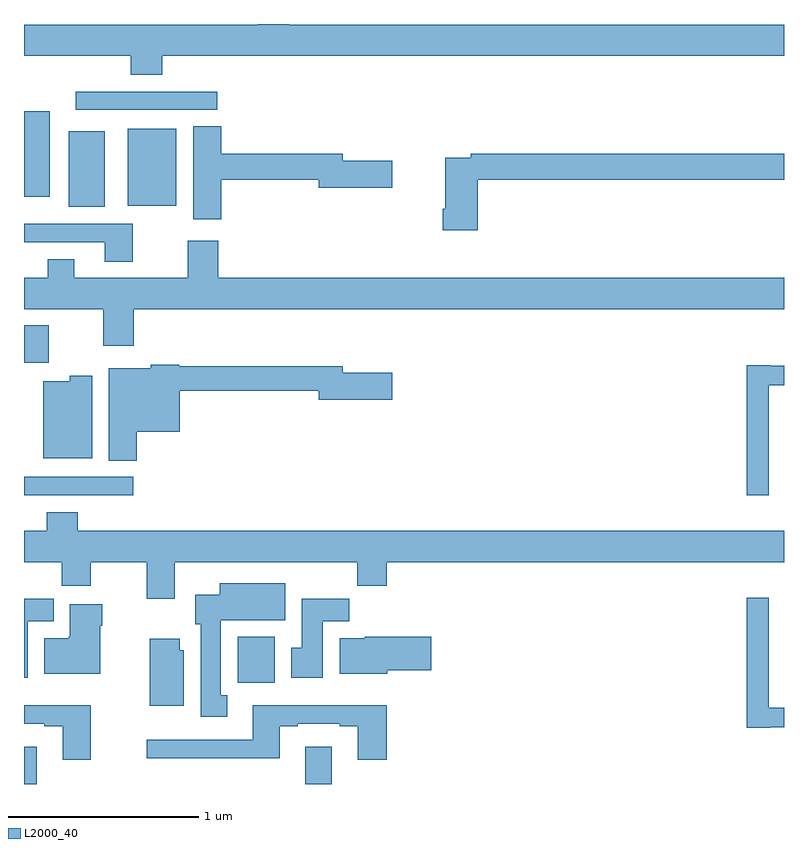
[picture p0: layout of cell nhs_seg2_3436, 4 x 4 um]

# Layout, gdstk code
import gdstk
lib = gdstk.Library(unit=1e-6, precision=1e-09)
def R(c, l, rs):  # rectangles x0, y0, x1, y1
    for r in rs: c.add(gdstk.rectangle(r[:2], r[2:], *l))
def P(c, l, *ps):  # polygons
    for p in ps: c.add(gdstk.Polygon(p, *l))
L2000_40 = (2000, 40)

nhs_seg2_3436 = lib.new_cell('nhs_seg2_3436')
R(nhs_seg2_3436, L2000_40, [(291,647.8,291.067,647.995), (292.481,647.8,292.621,647.995), (292.124,648.332,292.321,648.574), (291,649.32,291.574,649.416), (291,650.016,291.129,650.215), (291.236,650.837,291.424,651.235), (291.545,650.843,291.802,651.25), (291,650.892,291.136,651.34), (291.273,651.348,292.018,651.444)])
P(nhs_seg2_3436, L2000_40, [(291.728,651.632),(295,651.632),(295,651.796),(292.394,651.796),(292.394,651.8),(292.229,651.8),(292.229,651.796),(291,651.796),(291,651.632),(291.563,651.632),(291.563,651.533),(291.728,651.533)],
  [(292.037,650.98),(292.55,650.98),(292.55,650.938),(292.939,650.938),(292.939,651.08),(292.678,651.08),(292.678,651.116),(292.037,651.116),(292.037,651.263),(291.89,651.263),(291.89,650.772),(292.037,650.772)],
  [(293.387,650.98),(295,650.98),(295,651.116),(293.35,651.116),(293.35,651.096),(293.216,651.096),(293.216,650.827),(293.204,650.827),(293.204,650.715),(293.387,650.715)],
  [(291.573,650.748),(291,650.748),(291,650.652),(291.425,650.652),(291.425,650.55),(291.573,650.55)],
  [(291.578,650.3),(295,650.3),(295,650.464),(292.022,650.464),(292.022,650.659),(291.862,650.659),(291.862,650.464),(291.265,650.464),(291.265,650.563),(291.125,650.563),(291.125,650.464),(291,650.464),(291,650.3),(291.418,650.3),(291.418,650.106),(291.578,650.106)],
  [(291.593,649.655),(291.82,649.655),(291.82,649.87),(292.55,649.87),(292.55,649.823),(292.939,649.823),(292.939,649.965),(292.678,649.965),(292.678,649.999),(291.816,649.999),(291.816,650.007),(291.666,650.007),(291.666,649.987),(291.446,649.987),(291.446,649.501),(291.593,649.501)],
  [(294.921,649.898),(295,649.898),(295,650.002),(294.928,650.002),(294.928,650.005),(294.805,650.005),(294.805,649.32),(294.921,649.32)],
  [(291.358,649.948),(291.24,649.948),(291.24,649.921),(291.101,649.921),(291.101,649.514),(291.358,649.514)],
  [(291.793,648.968),(292.753,648.968),(292.753,648.844),(292.91,648.844),(292.91,648.968),(295,648.968),(295,649.132),(291.284,649.132),(291.284,649.231),(291.119,649.231),(291.119,649.132),(291,649.132),(291,648.968),(291.199,648.968),(291.199,648.844),(291.351,648.844),(291.351,648.968),(291.646,648.968),(291.646,648.774),(291.793,648.774)],
  [(292.069,648.266),(292.036,648.266),(292.036,648.662),(292.375,648.662),(292.375,648.856),(292.031,648.856),(292.031,648.796),(291.902,648.796),(291.902,648.642),(291.929,648.642),(291.929,648.153),(292.069,648.153)],
  [(294.928,648.098),(295,648.098),(295,648.202),(294.921,648.202),(294.921,648.781),(294.805,648.781),(294.805,648.096),(294.928,648.096)],
  [(292.573,648.656),(292.712,648.656),(292.712,648.774),(292.463,648.774),(292.463,648.516),(292.406,648.516),(292.406,648.36),(292.573,648.36)],
  [(291.019,648.656),(291.157,648.656),(291.157,648.774),(291,648.774),(291,648.36),(291.019,648.36)],
  [(291.4,648.632),(291.413,648.632),(291.413,648.745),(291.242,648.745),(291.242,648.574),(291.236,648.574),(291.236,648.568),(291.107,648.568),(291.107,648.38),(291.4,648.38)],
  [(292.912,648.398),(293.143,648.398),(293.143,648.574),(292.794,648.574),(292.794,648.568),(292.661,648.568),(292.661,648.38),(292.912,648.38)],
  [(291.841,648.504),(291.82,648.504),(291.82,648.565),(291.662,648.565),(291.662,648.212),(291.841,648.212)],
  [(292.91,648.214),(292.205,648.214),(292.205,648.033),(291.645,648.033),(291.645,647.936),(292.345,647.936),(292.345,648.105),(292.441,648.105),(292.441,648.117),(292.661,648.117),(292.661,648.105),(292.757,648.105),(292.757,647.928),(292.91,647.928)],
  [(291.351,648.214),(291,648.214),(291,648.117),(291.107,648.117),(291.107,648.105),(291.203,648.105),(291.203,647.928),(291.351,647.928)])

lib.write_gds('nhs_seg2_3436.gds')
